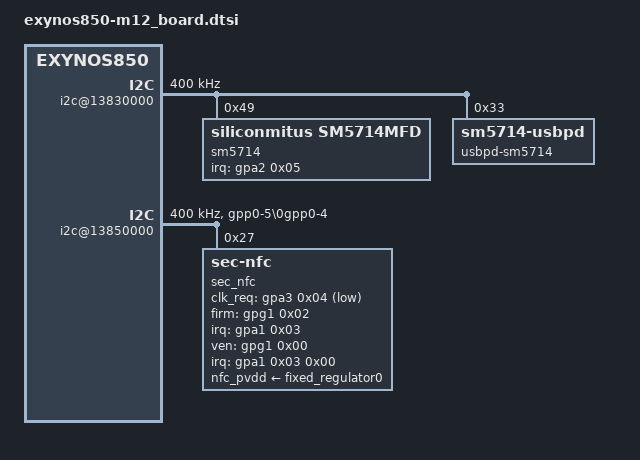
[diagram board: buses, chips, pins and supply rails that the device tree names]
// SPDX-License-Identifier: GPL-2.0
/*
 * Galaxy M12 board data common to all models, from the stock DTBO
 *
 * Copyright (c) 2021 Samsung Electronics Co., Ltd.
 */

/ {
	fragment@board0 {
		target-path = "/acpm_mfd_bus@11A50000";
		__overlay__ {
			s2mpu12mfd@00 {
				acpm-ipc-channel = <0x02>;
				check_jigon = <0x00>;
				compatible = "samsung,s2mpu12mfd";
				i2c-speedy-address;
				init_time,hour = <0x0c>;
				init_time,mday = <0x01>;
				init_time,min = <0x00>;
				init_time,mon = <0x00>;
				init_time,sec = <0x00>;
				init_time,wday = <0x05>;
				init_time,year = <0x79>;
				interrupts = <0x00 0x38 0x04>;
				pinctrl-0 = <&pm_wrstbi>;
				pinctrl-names = "default";
				pmic_loop_bw;
				reg = <0x00>;
				s2mpu12,wakeup = "enabled";
				smpl_en = "enabled";
				smpl_timer_val = <0x00>;
				wtsr_en = "enabled";
				wtsr_timer_val = <0x03>;
				s2mpu12-keys {
					button@1 {
						label = "pmic-keys: KEY_POWER";
						linux,code = <0x74>;
						wakeup = <0x01>;
					};
				};
				regulators {
					b1_reg: BUCK1 {
						regulator-always-on;
						regulator-initial-mode = <0x01>;
						regulator-max-microvolt = <0x124f80>;
						regulator-min-microvolt = <0x7a120>;
						regulator-name = "vdd_cpu";
						regulator-ramp-delay = <0x1770>;
					};
					b2_reg: BUCK2 {
						regulator-always-on;
						regulator-initial-mode = <0x01>;
						regulator-max-microvolt = <0x124f80>;
						regulator-min-microvolt = <0x7a120>;
						regulator-name = "vdd_gpu";
						regulator-ramp-delay = <0x1770>;
					};
					b4_reg: BUCK4 {
						regulator-always-on;
						regulator-initial-mode = <0x03>;
						regulator-max-microvolt = <0x16e360>;
						regulator-min-microvolt = <0xdbba0>;
						regulator-name = "vdd_lldo";
						regulator-ramp-delay = <0x1770>;
					};
					b5_reg: BUCK5 {
						regulator-always-on;
						regulator-initial-mode = <0x03>;
						regulator-max-microvolt = <0x200b20>;
						regulator-min-microvolt = <0x1b7740>;
						regulator-name = "vdd_mldo";
						regulator-ramp-delay = <0x1770>;
					};
					l1_reg: LDO1 {
						regulator-always-on;
						regulator-initial-mode = <0x03>;
						regulator-max-microvolt = <0x13d620>;
						regulator-min-microvolt = <0xaae60>;
						regulator-name = "vdd_ldo1";
						regulator-ramp-delay = <0x2ee0>;
					};
					l2_reg: LDO2 {
						regulator-always-on;
						regulator-initial-mode = <0x03>;
						regulator-max-microvolt = <0x1dc130>;
						regulator-min-microvolt = <0x186a00>;
						regulator-name = "vdd_ldo2";
						regulator-ramp-delay = <0x2ee0>;
					};
					l3_reg: LDO3 {
						regulator-always-on;
						regulator-initial-mode = <0x01>;
						regulator-max-microvolt = <0x13d620>;
						regulator-min-microvolt = <0xaae60>;
						regulator-name = "vdd_ldo3";
						regulator-ramp-delay = <0x2ee0>;
					};
					l4_reg: LDO4 {
						regulator-always-on;
						regulator-initial-mode = <0x01>;
						regulator-max-microvolt = <0x1dc130>;
						regulator-min-microvolt = <0x186a00>;
						regulator-name = "vdd_ldo4";
						regulator-ramp-delay = <0x2ee0>;
					};
					l5_reg: LDO5 {
						regulator-always-on;
						regulator-initial-mode = <0x03>;
						regulator-max-microvolt = <0x13d620>;
						regulator-min-microvolt = <0xaae60>;
						regulator-name = "vdd_ldo5";
						regulator-ramp-delay = <0x2ee0>;
					};
					l6_reg: LDO6 {
						regulator-always-on;
						regulator-initial-mode = <0x01>;
						regulator-max-microvolt = <0x121eac>;
						regulator-min-microvolt = <0x7a120>;
						regulator-name = "vdd_ldo6";
						regulator-ramp-delay = <0x2ee0>;
					};
					l7_reg: LDO7 {
						regulator-always-on;
						regulator-initial-mode = <0x01>;
						regulator-max-microvolt = <0x13d620>;
						regulator-min-microvolt = <0xaae60>;
						regulator-name = "vdd_ldo7";
						regulator-ramp-delay = <0x2ee0>;
					};
					l8_reg: LDO8 {
						regulator-always-on;
						regulator-initial-mode = <0x01>;
						regulator-max-microvolt = <0x13d620>;
						regulator-min-microvolt = <0x7a120>;
						regulator-name = "vdd_ldo8";
						regulator-ramp-delay = <0x2ee0>;
					};
					l9_reg: LDO9 {
						regulator-always-on;
						regulator-initial-mode = <0x01>;
						regulator-max-microvolt = <0x13d620>;
						regulator-min-microvolt = <0x7a120>;
						regulator-name = "vdd_ldo9";
						regulator-ramp-delay = <0x2ee0>;
					};
					l10_reg: LDO10 {
						regulator-initial-mode = <0x03>;
						regulator-max-microvolt = <0x2d0370>;
						regulator-min-microvolt = <0x1b7740>;
						regulator-name = "vqmmc";
						regulator-ramp-delay = <0x2ee0>;
					};
					l11_reg: LDO11 {
						regulator-always-on;
						regulator-initial-mode = <0x03>;
						regulator-max-microvolt = <0x337f98>;
						regulator-min-microvolt = <0x325aa0>;
						regulator-name = "vdd_ldo11";
						regulator-ramp-delay = <0x2ee0>;
					};
					l23_reg: LDO23 {
						regulator-always-on;
						regulator-initial-mode = <0x03>;
						regulator-max-microvolt = <0x337f98>;
						regulator-min-microvolt = <0x1b7740>;
						regulator-name = "vdd_ldo23";
						regulator-ramp-delay = <0x2ee0>;
					};
					l24_reg: LDO24 {
						regulator-initial-mode = <0x03>;
						regulator-max-microvolt = <0x2d0370>;
						regulator-min-microvolt = <0x1b7740>;
						regulator-name = "vmmc";
						regulator-ramp-delay = <0x2ee0>;
					};
					l25_reg: LDO25 {
						regulator-initial-mode = <0x00>;
						regulator-max-microvolt = <0x337f98>;
						regulator-min-microvolt = <0x1b7740>;
						regulator-name = "vdd_ldo25";
						regulator-ramp-delay = <0x2ee0>;
					};
					l26_reg: LDO26 {
						regulator-initial-mode = <0x03>;
						regulator-max-microvolt = <0x337f98>;
						regulator-min-microvolt = <0x325aa0>;
						regulator-name = "VDD_BTP_3P3";
						regulator-ramp-delay = <0x2ee0>;
					};
					l27_reg: LDO27 {
						regulator-initial-mode = <0x03>;
						regulator-max-microvolt = <0x325aa0>;
						regulator-min-microvolt = <0x325aa0>;
						regulator-name = "VDD_GRIP_3P3";
						regulator-ramp-delay = <0x2ee0>;
					};
					l28_reg: LDO28 {
						regulator-boot-on;
						regulator-initial-mode = <0x03>;
						regulator-max-microvolt = <0x1b7740>;
						regulator-min-microvolt = <0x1b7740>;
						regulator-name = "vdd_ldo28";
						regulator-ramp-delay = <0x2ee0>;
					};
					l29_reg: LDO29 {
						regulator-max-microvolt = <0x13d620>;
						regulator-min-microvolt = <0xaae60>;
						regulator-name = "vdd_ldo29";
						regulator-ramp-delay = <0x2ee0>;
					};
					l30_reg: LDO30 {
						regulator-initial-mode = <0x03>;
						regulator-ramp-delay = <0x2ee0>;
					};
					l31_reg: LDO31 {
						regulator-initial-mode = <0x01>;
						regulator-max-microvolt = <0x2dc6c0>;
						regulator-min-microvolt = <0x2dc6c0>;
						regulator-name = "VDD_MOTOR_3P3";
						regulator-ramp-delay = <0x2ee0>;
					};
					l32_reg: LDO32 {
						regulator-initial-mode = <0x01>;
						regulator-max-microvolt = <0x337f98>;
						regulator-min-microvolt = <0x1b7740>;
						regulator-name = "vdd_ldo32";
						regulator-ramp-delay = <0x2ee0>;
					};
					l33_reg: LDO33 {
						regulator-always-on;
						regulator-initial-mode = <0x03>;
						regulator-max-microvolt = <0x1dc130>;
						regulator-min-microvolt = <0x186a00>;
						regulator-name = "vdd_aldo1";
						regulator-ramp-delay = <0x2ee0>;
					};
					l34_reg: LDO34 {
						regulator-always-on;
						regulator-initial-mode = <0x03>;
						regulator-max-microvolt = <0x337f98>;
						regulator-min-microvolt = <0x1b7740>;
						regulator-name = "vdd_aldo2";
						regulator-ramp-delay = <0x2ee0>;
					};
					l35_reg: LDO35 {
						regulator-always-on;
						regulator-initial-mode = <0x01>;
						regulator-max-microvolt = <0x1dc130>;
						regulator-min-microvolt = <0x186a00>;
						regulator-name = "vdd_ldo_core";
						regulator-ramp-delay = <0x2ee0>;
					};
					l36_reg: LDO36 {
						regulator-max-microvolt = <0x13d620>;
						regulator-min-microvolt = <0xaae60>;
						regulator-name = "vdd_ldo_buf";
						regulator-ramp-delay = <0x2ee0>;
					};
				};
			};
		};
	};
};

/ {
	fragment@board1 {
		target-path = "/contexthub";
		__overlay__ {
			acc-motor-coef = <0x14>;
			os-type = "sensorhub/shub_nacho_m12.bin";
			sensor-vdd-regulator = "VDD_SENSOR_1P8";
		};
	};
};

/ {
	fragment@board2 {
		target-path = "/i2c@13830000";
		__overlay__ {
			clock-frequency = <0x61a80>;
			i2c-gpio,delay-us = <0x05>;
			samsung,i2c-max-bus-freq = <0x61a80>;
			sm5714@49 {
				compatible = "siliconmitus,sm5714mfd";
				pinctrl-0 = <&if_pmic_irq>;
				pinctrl-names = "default";
				reg = <0x49>;
				sm5714,irq-gpio = <&gpa2 0x05 0x00>;
				sm5714,wakeup;
				status = "okay";
			};
			usbpd-sm5714@33 {
				compatible = "sm5714-usbpd";
				pinctrl-0 = <&usbpd_irq>;
				pinctrl-names = "default";
				reg = <0x33>;
				status = "okay";
				support_pd_role_swap;
				usbpd,usbpd_int = <&gpa0 0x06 0x00>;
				pdic-manager {
					pdic,giveback = <0x00>;
					pdic,max_power = <0x1388>;
					pdic,min_current = <0x1f4>;
					pdic,no_usb_suspend = <0x01>;
					pdic,usb_com_capable = <0x01>;
					pdic_max_current = <0x7d0>;
					pdic_max_voltage = <0x1770>;
					pdic_op_power = <0x9c4>;
					source,max_power = <0x9c4>;
					source,max_voltage = <0x1388>;
					source,min_voltage = <0xfa0>;
				};
			};
		};
	};
};

/ {
	fragment@board3 {
		target-path = "/i2c@13850000";
		__overlay__ {
			clock-frequency = <0x61a80>;
			pinctrl-0 = <&nfc_i2c_bus>;
			samsung,i2c-max-bus-freq = <0x61a80>;
			samsung,reset-before-trans;
			status = "okay";
			sec_nfc: sec-nfc@27 {
				clock-names = "oscclk_nfc";
				clocks = <&clock 0x2bc>;
				compatible = "sec-nfc";
				interrupt-parent = <&gpa1>;
				interrupts = <0x03 0x00 0x00>;
				nfc_pvdd-supply = <&fixed_regulator0>;
				pinctrl-0 = <&nfc_en &nfc_firm &xclkout &nfc_clk_req &nfc_check>;
				pinctrl-1 = <&nfc_en_nc &nfc_firm_nc &xclkout_nc &nfc_clk_req_nc>;
				pinctrl-names = "default\0nfc_nc";
				reg = <0x27>;
				sec-nfc,check_nfc = <&gpg1 0x04 0x00>;
				sec-nfc,clk_req-gpio = <&gpa3 0x04 0x0f>;
				sec-nfc,firm-gpio = <&gpg1 0x02 0x00>;
				sec-nfc,irq-gpio = <&gpa1 0x03 0x00>;
				sec-nfc,irq_all_trigger;
				sec-nfc,ldo_control;
				sec-nfc,nfc_ap_clk;
				sec-nfc,ven-gpio = <&gpg1 0x00 0x00>;
			};
		};
	};
};

/ {
	fragment@board4 {
		target-path = "/pinctrl@11850000";
		__overlay__ {
			if_pmic_irq: if_pmic_irq {
				samsung,pin-drv = <0x00>;
				samsung,pin-function = <0x00>;
				samsung,pin-pud = <0x00>;
				samsung,pins = "gpa2-5";
			};
			usbpd_irq: usbpd_irq {
				samsung,pin-drv = <0x02>;
				samsung,pin-function = <0x0f>;
				samsung,pin-pud = <0x00>;
				samsung,pins = "gpa0-6";
			};
			gfspi_drdypin_active: gfspi_drdypin_active {
				samsung,pin-drv = <0x03>;
				samsung,pin-function = <0x0f>;
				samsung,pin-pud = <0x00>;
				samsung,pins = "gpa0-5";
			};
			gfspi_drdypin_suspend: gfspi_drdypin_suspend {
				samsung,pin-drv = <0x03>;
				samsung,pin-function = <0x00>;
				samsung,pin-pud = <0x01>;
				samsung,pins = "gpa0-5";
			};
			xclkout: xclkout {
				samsung,pin-function = <0x02>;
				samsung,pin-pud = <0x00>;
				samsung,pins = "gpq0-2";
			};
			xclkout_nc: xclkout_nc {
				samsung,pin-function = <0x00>;
				samsung,pin-pud = <0x01>;
				samsung,pins = "gpq0-2";
			};
			nfc_clk_req: nfc_clk_req {
				samsung,pin-function = <0x02>;
				samsung,pin-pud = <0x01>;
				samsung,pins = "gpa3-4";
			};
			nfc_clk_req_nc: nfc_clk_req_nc {
				samsung,pin-function = <0x00>;
				samsung,pin-pud = <0x01>;
				samsung,pins = "gpa3-4";
			};
		};
	};
};

/ {
	fragment@board5 {
		target-path = "/pinctrl@139b0000";
		__overlay__ {
			pm_wrstbi: pm-wrstbi {
				samsung,pin-con-pdn = <0x03>;
				samsung,pin-function = <0x01>;
				samsung,pin-pud = <0x00>;
				samsung,pin-pud-pdn = <0x00>;
				samsung,pin-val = <0x01>;
				samsung,pins = "gpg1-5";
			};
			ldo_gpio0: ldo_gpio0 {
				samsung,pin-con-pdn = <0x03>;
				samsung,pin-function = <0x01>;
				samsung,pin-pud = <0x00>;
				samsung,pin-pud-pdn = <0x00>;
				samsung,pins = "gpg1-3";
			};
			gfspi_rstpin: gfspi_rstpin {
				samsung,pin-con-pdn = <0x03>;
				samsung,pin-drv = <0x00>;
				samsung,pin-function = <0x01>;
				samsung,pin-pud = <0x01>;
				samsung,pin-pud-pdn = <0x00>;
				samsung,pins = "gpg1-1";
			};
			spi_fp_bus_inactive: spi-fp-bus-inactive {
				samsung,pin-drv = <0x02>;
				samsung,pin-function = <0x01>;
				samsung,pin-pud = <0x00>;
				samsung,pin-val = <0x00>;
				samsung,pins = "gpp2-1\0gpp2-0\0gpp2-3";
			};
			spi_fp_miso_inactive: spi-fp-miso-inactive {
				samsung,pin-drv = <0x02>;
				samsung,pin-function = <0x00>;
				samsung,pin-pud = <0x01>;
				samsung,pins = "gpp2-2";
			};
			spi_fp_clk: spi-fp-clk {
				samsung,pin-drv = <0x02>;
				samsung,pin-function = <0x02>;
				samsung,pin-pud = <0x01>;
				samsung,pins = "gpp2-0";
			};
			spi_fp_cs: spi-fp-cs {
				samsung,pin-drv = <0x02>;
				samsung,pin-function = <0x02>;
				samsung,pin-pud = <0x03>;
				samsung,pins = "gpp2-1";
			};
			spi_fp_miso: spi-fp-miso {
				samsung,pin-drv = <0x02>;
				samsung,pin-function = <0x02>;
				samsung,pin-pud = <0x01>;
				samsung,pins = "gpp2-2";
			};
			spi_fp_mosi: spi-fp-mosi {
				samsung,pin-drv = <0x02>;
				samsung,pin-function = <0x02>;
				samsung,pin-pud = <0x01>;
				samsung,pins = "gpp2-3";
			};
			nfc_i2c_bus: nfc_i2c_bus {
				samsung,pin-con-pdn = <0x02>;
				samsung,pin-drv = <0x00>;
				samsung,pin-function = <0x02>;
				samsung,pin-pud = <0x00>;
				samsung,pin-pud-pdn = <0x00>;
				samsung,pins = "gpp0-5\0gpp0-4";
			};
			nfc_firm: nfc_firm {
				samsung,pin-con-pdn = <0x03>;
				samsung,pin-function = <0x01>;
				samsung,pin-pud = <0x00>;
				samsung,pin-pud-pdn = <0x00>;
				samsung,pin-val = <0x00>;
				samsung,pins = "gpg1-2";
			};
			nfc_firm_nc: nfc_firm_nc {
				samsung,pin-function = <0x00>;
				samsung,pin-pud = <0x01>;
				samsung,pins = "gpg1-2";
			};
			nfc_en: nfc_en {
				samsung,pin-con-pdn = <0x03>;
				samsung,pin-function = <0x01>;
				samsung,pin-pud = <0x00>;
				samsung,pin-pud-pdn = <0x00>;
				samsung,pin-val = <0x01>;
				samsung,pins = "gpg1-0";
			};
			nfc_en_nc: nfc_en_nc {
				samsung,pin-function = <0x00>;
				samsung,pin-pud = <0x01>;
				samsung,pins = "gpg1-0";
			};
			nfc_check: nfc_check {
				samsung,pin-con-pdn = <0x02>;
				samsung,pin-drv = <0x01>;
				samsung,pin-function = <0x00>;
				samsung,pin-pud = <0x00>;
				samsung,pin-pud-pdn = <0x00>;
				samsung,pins = "gpg1-4";
			};
		};
	};
};

/ {
	fragment@board6 {
		target-path = "/pinctrl@139b0000/i2c0-bus";
		__overlay__ {
			samsung,fix-doxfer-return;
			samsung,glitch-filter;
			samsung,pin-pud = <0x03>;
		};
	};
};
